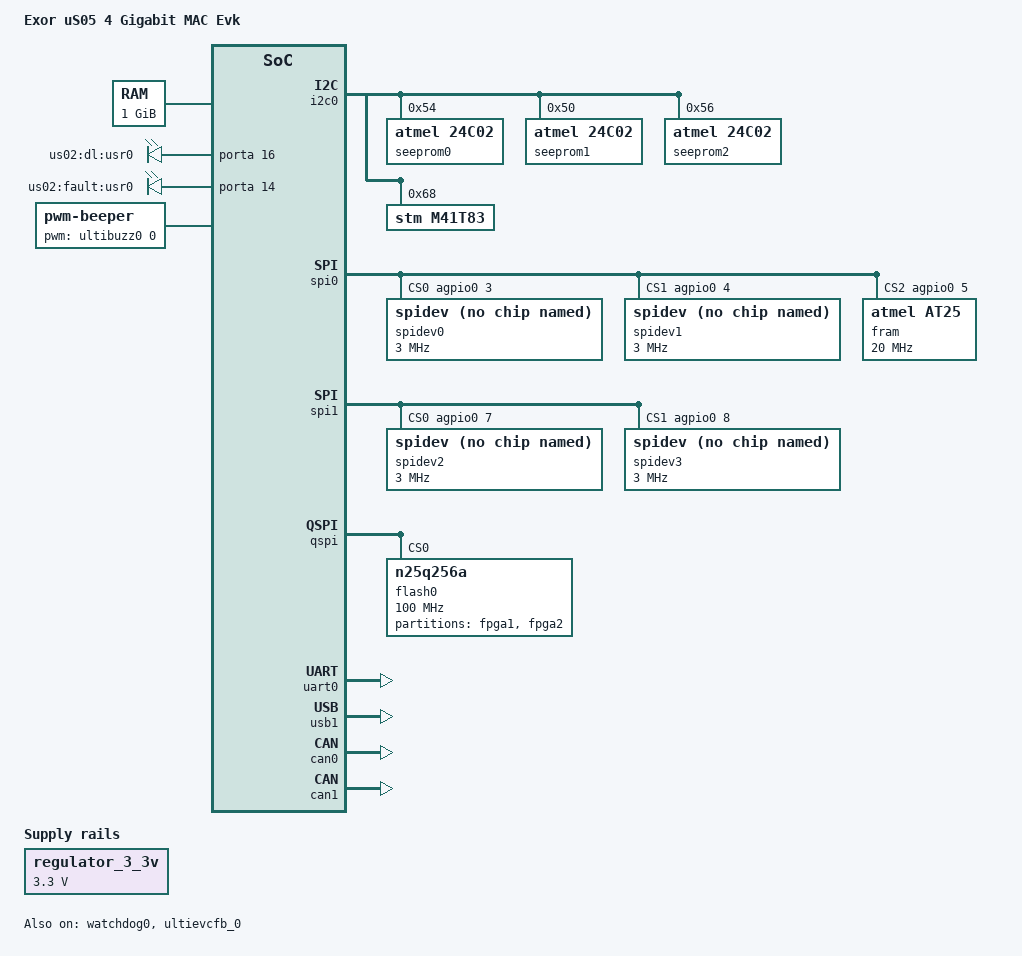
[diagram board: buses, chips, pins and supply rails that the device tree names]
/*
 * Copyright Exor International 2018. All rights reserved.
 *
 * This program is free software; you can redistribute it and/or modify
 * it under the terms and conditions of the GNU General Public License,
 * version 2, as published by the Free Software Foundation.
 *
 * This program is distributed in the hope it will be useful, but WITHOUT
 * ANY WARRANTY; without even the implied warranty of MERCHANTABILITY or
 * FITNESS FOR A PARTICULAR PURPOSE.  See the GNU General Public License for
 * more details.
 *
 * You should have received a copy of the GNU General Public License along with
 * this program.  If not, see <http://www.gnu.org/licenses/>.
 */

/dts-v1/;
/* First 4KB has trampoline code for secondary cores. */
/memreserve/ 0x00000000 0x0001000;
#include "socfpga.dtsi"

/ {
	soc {
		clkmgr@ffd04000 {
			clocks {
				osc1 {
					clock-frequency = <25000000>;
				};

				eth_tse_dma_0_clk_0: eth_tse_dma_0_clk_0 {
					compatible = "fixed-clock";
					#clock-cells = <0>;
					clock-frequency = <50000000>;	/* 50.00 MHz */
					clock-output-names = "eth_tse_dma_0_clk_0-clk";
				}; //end eth_tse_dma_0_clk_0 (eth_tse_dma_0_clk_0)

				eth_tse_dma_1_clk_0: eth_tse_dma_1_clk_0 {
					compatible = "fixed-clock";
					#clock-cells = <0>;
					clock-frequency = <50000000>;	/* 50.00 MHz */
					clock-output-names = "eth_tse_dma_1_clk_0-clk";
				}; //end eth_tse_dma_1_clk_0 (eth_tse_dma_1_clk_0)

				eth_tse_dma_2_clk_0: eth_tse_dma_2_clk_0 {
					compatible = "fixed-clock";
					#clock-cells = <0>;
					clock-frequency = <50000000>;	/* 50.00 MHz */
					clock-output-names = "eth_tse_dma_2_clk_0-clk";
				}; //end eth_tse_dma_2_clk_0 (eth_tse_dma_2_clk_0)

				eth_tse_dma_3_clk_0: eth_tse_dma_3_clk_0 {
					compatible = "fixed-clock";
					#clock-cells = <0>;
					clock-frequency = <50000000>;	/* 50.00 MHz */
					clock-output-names = "eth_tse_dma_3_clk_0-clk";
				}; //end eth_tse_dma_3_clk_0 (eth_tse_dma_3_clk_0)
			};
		};

		emmc: dwmmc0@ff704000 {
			num-slots = <1>;
			broken-cd;
			bus-width = <8>;
			cap-mmc-highspeed;
			cap-sd-highspeed;
		};

		sysmgr@ffd08000 {
			cpu1-start-addr = <0xffd080c4>;
		};
	};
};

&watchdog0 {
	status = "okay";
};


/ {
	model = "Exor uS05 4 Gigabit MAC Evk";
	compatible = "altr,socfpga-cyclone5", "altr,socfpga";

	chosen {
		bootargs = "console=ttyS0,57600 hw_dispid=45";
	};

	memory {
		name = "memory";
		device_type = "memory";
		reg = <0x0 0x40000000>; /* 1GB */
	};

	aliases {
		mmc0 = &ulti_sdc_0;
		mmc1 = &emmc;
		serial0 = &uart0;
		serial3 = &uart1;
		ethernet0 = &eth_tse_dma_0_eth_tse_0;
		ethernet1 = &eth_tse_dma_1_eth_tse_0;
		ethernet2 = &eth_tse_dma_2_eth_tse_0;
		ethernet3 = &eth_tse_dma_3_eth_tse_0;
		spi0 = &spi0;
		spi1 = &spi1;
	};

	regulator_3_3v: 3-3-v-regulator {
		compatible = "regulator-fixed";
		regulator-name = "3.3V";
		regulator-min-microvolt = <3300000>;
		regulator-max-microvolt = <3300000>;
	};

	ulti_sdc_0: ulti_sdc@0xFF230000 {
		compatible = "EXOR,ulti_sdc-13.1", "EXOR,ulti_sdc-1.0", "exor,ulti_sdc-1.0", "sdhci-ultimmc";
		reg = < 0xFF230000 0x0000ffff >;
		interrupt-parent = <&intc>;
		interrupts = < 0 43 4 >;
	}; //end ulti_sdc@0x100030000 (ulti_sdc_0)

	ultievcfb_0: ultievcfb@0xff200000 {
	  compatible = "exor,ultievcfb";
	  reg = <0xff200000 0x00000fff>;
	  status = "okay";
	};

	agpio0: gpio@0xff210010 {
		compatible = "altr,pio-1.0";
		reg = <0xff210010 0x10>;
		interrupts = <0 44 4>;
		width=<32>;
		altr,interrupt_type = < 4 >;
		#gpio-cells = <2>;
		gpio-controller;
		#interrupt-cells = <1>;
		interrupt-controller;
	};

	leds {
		compatible = "gpio-leds";
		status = "okay";

		led@1 {
			label = "us02:dl:usr0";
			gpios = <&porta 16 0>;
			default-state = "on";
		};

		led@2 {
			label = "us02:fault:usr0";
			gpios = <&porta 14 0>;
			default-state = "off";
		};
	};

// tse mac start
	sopc0: sopc@0 {
		device_type = "soc";
		ranges;
		#address-cells = <1>;
		#size-cells = <1>;
		compatible = "ALTR,avalon", "simple-bus";
		bus-frequency = <0>;

		hps_0_bridges: bridge@0xc0000000 {
			compatible = "altr,bridge-17.1", "simple-bus";
			reg = <0xc0000000 0x20000000>,
				<0xff200000 0x00200000>;
			reg-names = "axi_h2f", "axi_h2f_lw";
			clocks = <&main_pll 0 &main_pll 0 &main_pll 1>;
			clock-names = "h2f_axi_clock", "h2f_lw_axi_clock", "f2h_sdram0_clock";
			#address-cells = <2>;
			#size-cells = <1>;
			ranges = <0x00000000 0x00000000 0xc0000000 0x00010000>,
				<0x00000001 0x00030000 0xff230000 0x00010000>,
				<0x00000001 0x00020000 0xff220000 0x00000200>,
				<0x00000001 0x00020200 0xff220200 0x00000200>,
				<0x00000001 0x00000000 0xff200000 0x00010000>,
				<0x00000001 0x00010000 0xff210000 0x00000008>,
				<0x00000001 0x00010020 0xff210020 0x00000020>,

				<0x00000001 0x00040000 0xff240000 0x00000400>,
				<0x00000001 0x00046000 0xff246000 0x00000020>,
				<0x00000001 0x00048000 0xff248000 0x00000020>,
				<0x00000001 0x0004a000 0xff24a000 0x00000008>,
				<0x00000001 0x00044000 0xff244000 0x00000020>,
				<0x00000001 0x00044200 0xff244200 0x00000020>,

				<0x00000001 0x00050000 0xff250000 0x00000400>,
				<0x00000001 0x00056000 0xff256000 0x00000020>,
				<0x00000001 0x00058000 0xff258000 0x00000020>,
				<0x00000001 0x0005a000 0xff25a000 0x00000008>,
				<0x00000001 0x00054000 0xff254000 0x00000020>,
				<0x00000001 0x00054200 0xff254200 0x00000020>,

				<0x00000001 0x00060000 0xff260000 0x00000400>,
				<0x00000001 0x00066000 0xff266000 0x00000020>,
				<0x00000001 0x00068000 0xff268000 0x00000020>,
				<0x00000001 0x0006a000 0xff26a000 0x00000008>,
				<0x00000001 0x00064000 0xff264000 0x00000020>,
				<0x00000001 0x00064200 0xff264200 0x00000020>,

				<0x00000001 0x00070000 0xff270000 0x00000400>,
				<0x00000001 0x00076000 0xff276000 0x00000020>,
				<0x00000001 0x00078000 0xff278000 0x00000020>,
				<0x00000001 0x0007a000 0xff27a000 0x00000008>,
				<0x00000001 0x00074000 0xff274000 0x00000020>,
				<0x00000001 0x00074200 0xff274200 0x00000020>,

				<0x00000001 0x00010010 0xff210010 0x00000010>;

			eth_tse_dma_0_eth_tse_0: ethernet@0x100040000 {
				compatible = "altr,tse-msgdma-17.1", "altr,tse-msgdma-1.0", "altr,tse-1.0";
				reg = <0x00000001 0x00040000 0x00000400>,
					<0x00000001 0x00046000 0x00000020>,
					<0x00000001 0x00048000 0x00000020>,
					<0x00000001 0x0004a000 0x00000008>,
					<0x00000001 0x00044000 0x00000020>,
					<0x00000001 0x00044200 0x00000020>;
				reg-names = "control_port", "rx_csr", "rx_desc", "rx_resp", "tx_csr", "tx_desc";
				interrupt-parent = <&intc>;
				interrupts = <0 45 4 0 42 4>;
				interrupt-names = "rx_irq", "tx_irq";
				clocks = <&main_pll 0 &eth_tse_dma_0_clk_0 &eth_tse_dma_0_clk_0 &eth_tse_dma_0_clk_0>;
				clock-names = "control_port_clock_connection", "pcs_mac_tx_clock_connection", "receive_clock_connection", "transmit_clock_connection";
				ALTR,rx-fifo-depth = <2048>;	/* embeddedsw.dts.params.ALTR,rx-fifo-depth type NUMBER */
				ALTR,tx-fifo-depth = <2048>;	/* embeddedsw.dts.params.ALTR,tx-fifo-depth type NUMBER */
				rx-fifo-depth = <8192>;	/* embeddedsw.dts.params.rx-fifo-depth type NUMBER */
				tx-fifo-depth = <8192>;	/* embeddedsw.dts.params.tx-fifo-depth type NUMBER */
				address-bits = <48>;
				max-frame-size = <1518>;
				mac-address = [00 00 00 00 00 00];
				altr,has-supplementary-unicast;
				altr,enable-sup-addr = <1>;
				altr,has-hash-multicast-filter;
				altr,enable-hash = <1>;
				phy-connection-type = "rgmii-rxid";
				phy-handle = <&phy_1>;

				eth_tse_dma_0_eth_tse_0_mdio: mdio {
					compatible = "altr,tse-mdio";
					#address-cells = <1>;
					#size-cells = <0>;

					phy_1: ethernet-phy@1 {
							//compatible = "ethernet-phy-id2000.a231", "ethernet-phy-ieee802.3-c22";
							reg = <1>;
							device_type = "ethernet-phy";
							phy-addr = <0x1>;
							ti,fifo-depth = <1>;	// ti dp83867 driver expects this
							ti,rx-internal-delay = <4>;	// 1 ns
						}; //end ethernet-phy@0 (phy_1)
					phy_2: ethernet-phy@2 {
							reg = <2>;
							device_type = "ethernet-phy";
							phy-addr = <0x2>;
							ti,fifo-depth = <1>;	// ti dp83867 driver expects this
							ti,rx-internal-delay = <4>;	// 1 ns
						}; //end ethernet-phy@2 (phy_2)
					phy_3: ethernet-phy@3 {
							reg = <3>;
							device_type = "ethernet-phy";
							phy-addr = <0x3>;
							ti,fifo-depth = <1>;	// ti dp83867 driver expects this
							ti,rx-internal-delay = <4>;	// 1 ns
						}; //end ethernet-phy@3 (phy_3)
					phy_4: ethernet-phy@4 {
							reg = <4>;
							device_type = "ethernet-phy";
							phy-addr = <0x4>;
							ti,fifo-depth = <1>;	// ti dp83867 driver expects this
							ti,rx-internal-delay = <4>;	// 1 ns
						}; //end ethernet-phy@4 (phy_4)
				}; //end mdio (eth_tse_dma_0_eth_tse_0_mdio)
			}; //end ethernet@0x100040000 (eth_tse_dma_0_eth_tse_0)

			eth_tse_dma_1_eth_tse_0: ethernet@0x100050000 {
				compatible = "altr,tse-msgdma-17.1", "altr,tse-msgdma-1.0", "altr,tse-1.0";
				reg = <0x00000001 0x00050000 0x00000400>,
					<0x00000001 0x00056000 0x00000020>,
					<0x00000001 0x00058000 0x00000020>,
					<0x00000001 0x0005a000 0x00000008>,
					<0x00000001 0x00054000 0x00000020>,
					<0x00000001 0x00054200 0x00000020>;
				reg-names = "control_port", "rx_csr", "rx_desc", "rx_resp", "tx_csr", "tx_desc";
				interrupt-parent = <&intc>;
				interrupts = <0 47 4 0 46 4>;
				interrupt-names = "rx_irq", "tx_irq";
				clocks = <&eth_tse_dma_1_clk_0 &eth_tse_dma_1_clk_0 &eth_tse_dma_1_clk_0>;
				clock-names = "control_port_clock_connection", "receive_clock_connection", "transmit_clock_connection";
				ALTR,rx-fifo-depth = <2048>;	/* embeddedsw.dts.params.ALTR,rx-fifo-depth type NUMBER */
				ALTR,tx-fifo-depth = <2048>;	/* embeddedsw.dts.params.ALTR,tx-fifo-depth type NUMBER */
				rx-fifo-depth = <8192>;	/* embeddedsw.dts.params.rx-fifo-depth type NUMBER */
				tx-fifo-depth = <8192>;	/* embeddedsw.dts.params.tx-fifo-depth type NUMBER */
				address-bits = <48>;
				max-frame-size = <1518>;
				mac-address = [00 00 00 00 00 00];
				altr,has-supplementary-unicast;
				altr,enable-sup-addr = <1>;
				altr,has-hash-multicast-filter;
				altr,enable-hash = <1>;
				phy-connection-type = "rgmii-rxid";
				phy-handle = <&phy_2>;
			}; //end ethernet@0x100050000 (eth_tse_dma_1_eth_tse_0)

			eth_tse_dma_2_eth_tse_0: ethernet@0x100060000 {
				compatible = "altr,tse-msgdma-17.1", "altr,tse-msgdma-1.0", "altr,tse-1.0";
				reg = <0x00000001 0x00060000 0x00000400>,
					<0x00000001 0x00066000 0x00000020>,
					<0x00000001 0x00068000 0x00000020>,
					<0x00000001 0x0006a000 0x00000008>,
					<0x00000001 0x00064000 0x00000020>,
					<0x00000001 0x00064200 0x00000020>;
				reg-names = "control_port", "rx_csr", "rx_desc", "rx_resp", "tx_csr", "tx_desc";
				interrupt-parent = <&intc>;
				interrupts = <0 49 4 0 48 4>;
				interrupt-names = "rx_irq", "tx_irq";
				clocks = <&eth_tse_dma_2_clk_0 &eth_tse_dma_2_clk_0 &eth_tse_dma_2_clk_0>;
				clock-names = "control_port_clock_connection", "receive_clock_connection", "transmit_clock_connection";
				ALTR,rx-fifo-depth = <2048>;	/* embeddedsw.dts.params.ALTR,rx-fifo-depth type NUMBER */
				ALTR,tx-fifo-depth = <2048>;	/* embeddedsw.dts.params.ALTR,tx-fifo-depth type NUMBER */
				rx-fifo-depth = <8192>;	/* embeddedsw.dts.params.rx-fifo-depth type NUMBER */
				tx-fifo-depth = <8192>;	/* embeddedsw.dts.params.tx-fifo-depth type NUMBER */
				address-bits = <48>;
				max-frame-size = <1518>;
				mac-address = [00 00 00 00 00 00];
				altr,has-supplementary-unicast;
				altr,enable-sup-addr = <1>;
				altr,has-hash-multicast-filter;
				altr,enable-hash = <1>;
				phy-connection-type = "rgmii-rxid";
				phy-handle = <&phy_3>;
			}; //end ethernet@0x100060000 (eth_tse_dma_2_eth_tse_0)

			eth_tse_dma_3_eth_tse_0: ethernet@0x100070000 {
				compatible = "altr,tse-msgdma-17.1", "altr,tse-msgdma-1.0", "altr,tse-1.0";
				reg = <0x00000001 0x00070000 0x00000400>,
					<0x00000001 0x00076000 0x00000020>,
					<0x00000001 0x00078000 0x00000020>,
					<0x00000001 0x0007a000 0x00000008>,
					<0x00000001 0x00074000 0x00000020>,
					<0x00000001 0x00074200 0x00000020>;
				reg-names = "control_port", "rx_csr", "rx_desc", "rx_resp", "tx_csr", "tx_desc";
				interrupt-parent = <&intc>;
				interrupts = <0 50 4 0 51 4>;
				interrupt-names = "rx_irq", "tx_irq";
				clocks = <&eth_tse_dma_3_clk_0 &eth_tse_dma_3_clk_0 &eth_tse_dma_3_clk_0>;
				clock-names = "control_port_clock_connection", "receive_clock_connection", "transmit_clock_connection";
				ALTR,rx-fifo-depth = <2048>;	/* embeddedsw.dts.params.ALTR,rx-fifo-depth type NUMBER */
				ALTR,tx-fifo-depth = <2048>;	/* embeddedsw.dts.params.ALTR,tx-fifo-depth type NUMBER */
				rx-fifo-depth = <8192>;	/* embeddedsw.dts.params.rx-fifo-depth type NUMBER */
				tx-fifo-depth = <8192>;	/* embeddedsw.dts.params.tx-fifo-depth type NUMBER */
				address-bits = <48>;
				max-frame-size = <1518>;
				mac-address = [00 00 00 00 00 00];
				altr,has-supplementary-unicast;
				altr,enable-sup-addr = <1>;
				altr,has-hash-multicast-filter;
				altr,enable-hash = <1>;
				phy-connection-type = "rgmii-rxid";
				phy-handle = <&phy_4>;
			}; //end ethernet@0x100070000 (eth_tse_dma_3_eth_tse_0)

		};	// end bridge
	};	// end sopc	

	ultibuzz0: ultibuzz@0xff202000 {
		compatible = "exor,ultibuzz";
		reg = <0xff210020 0x20>;
		ref-freq=<25600000>;
		#pwm-cells = <3>;
	};

	beeper {
	  compatible = "pwm-beeper";
	  pwms = <&ultibuzz0 0 50000 0>;
	};
};

&gpio0 {
	status = "okay";
};

&gpio1 {
	status = "okay";
};

&gpio2 {
	status = "okay";
};

&i2c0 {
	status = "okay";
	speed-mode = <0>;

	seeprom0:seeprom0@54 {
		compatible = "atmel,24c02";
		reg = <0x54>;
	};

	seeprom1:seeprom1@50 {
		compatible = "atmel,24c02";
		reg = <0x50>;
	};

	seeprom2:seeprom1@56 {
		compatible = "atmel,24c02";
		reg = <0x56>;
	};
	
	m41t83:m41t83@68 {
		compatible = "stm,m41t83";
		reg = <0x68>;
	};
};

&spi0 {
	status = "okay";
	num-cs = <4>;
	bus-num = <0>;
	cs-gpios = <&agpio0 3 0>, <&agpio0 4 0>, <&agpio0 5 0>, <&agpio0 6 0>;

	spidev0: spi0@0 {
		compatible = "spidev";
		reg = <0>;
		spi-max-frequency = <3000000>;
	};

	spidev1: spi0@1 {
		compatible = "spidev";
		reg = <1>;
		spi-max-frequency = <3000000>;
	};

	fram: at25@2 {
		compatible = "atmel,at25", "st,m95256";
		reg = <2>;
		spi-max-frequency = <20000000>;
		pagesize = <64>;
		size = <65536>;
		address-width = <16>;
	};
};

&spi1 {
	status = "okay";
	num-cs = <2>;
	bus-num = <1>;
	cs-gpios = <&agpio0 7 0>, <&agpio0 8 0>;

	spidev2: spi1@0 {
		compatible = "spidev";
		reg = <0>;
		spi-max-frequency = <3000000>;
	};

	spidev3: spi1@1 {
		compatible = "spidev";
		reg = <1>;
		spi-max-frequency = <3000000>;
	};
};

&qspi {
	status = "okay";
	flash0: n25q256a@0 {
		#address-cells = <1>;
		#size-cells = <1>;
		compatible = "n25q256a";
		reg = <0>;      /* chip select */
		spi-max-frequency = <100000000>;
		m25p,fast-read;
		page-size = <256>; 
		block-size = <16>; /* 2^16, 64KB */
		read-delay = <4>;  /* delay value in read data capture register */
		cdns,tshsl-ns = <50>;
		cdns,tsd2d-ns = <50>;
		cdns,tchsh-ns = <4>;
		cdns,tslch-ns = <4>;

		partition@qspi-fpga1 {
		/* 10MB for raw FPGA1 image. */
		label = "fpga1";
		reg = <0x0 0xa00000>;
		};

		partition@qspi-fpga2 {
		/* 10MB for raw FPGA2 image. */
		label = "fpga2";
		reg = <0xa00000 0xa00000>;
		};
	};
};

&uart0 {
	status = "okay";
	rs485-rts-active-high;
};

&usb1 {
	status = "okay";
};

&can0 {
  status = "okay";
};

&can1 {
  status = "okay";
};

&emmc {
	vmmc-supply = <&regulator_3_3v>;
	vqmmc-supply = <&regulator_3_3v>;

	num-slots = <1>;
	supports-highspeed;
	broken-cd;
	altr,dw-mshc-ciu-div = <3>;
	altr,dw-mshc-sdr-timing = <0 3>;

	slot@0 {
		reg = <0>;
		bus-width = <8>;
	};
};

